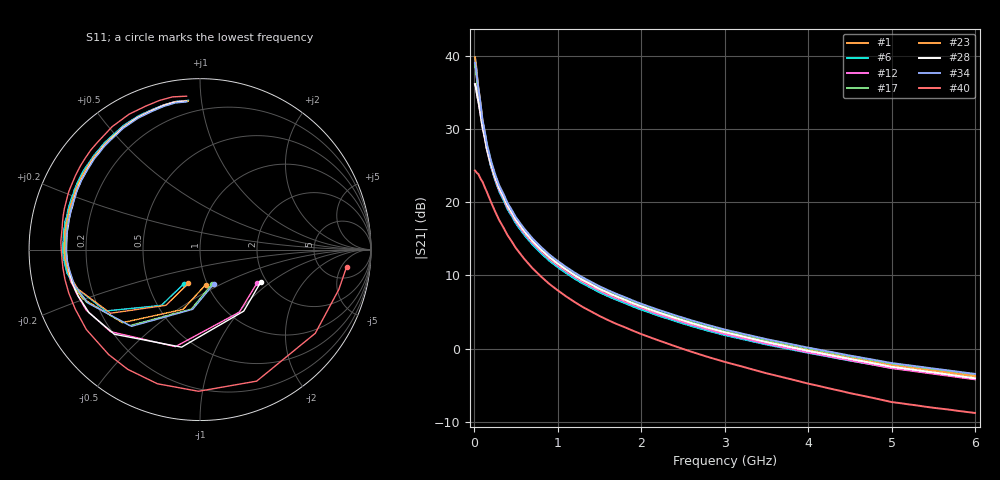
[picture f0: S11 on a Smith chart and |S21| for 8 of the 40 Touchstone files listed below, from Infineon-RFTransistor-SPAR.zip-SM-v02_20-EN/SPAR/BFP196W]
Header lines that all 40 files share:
! Infineon Technologies  Discrete & RF Semiconductors
! BFP196W
! Common Emitter S-Parameters:  Jan 2017
# GHz  S  MA  R  50
!  f  S11  S21  S12  S22
! GHz  MAG  ANG  MAG  ANG  MAG  ANG  MAG  ANG
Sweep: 10 MHz to 6 GHz
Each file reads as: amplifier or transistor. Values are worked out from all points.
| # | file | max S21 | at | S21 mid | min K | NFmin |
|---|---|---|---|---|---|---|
| 1 | BFP196W_w_noise_VCE_3.0V_IC_60mA.s2p | 38.8 dB | 10 MHz | 4.7 dB at 2.2 GHz | 0.16 | 1.47 dB |
| 2 | BFP196W_w_noise_VCE_3.0V_IC_65mA.s2p | 39.0 dB | 10 MHz | 4.7 dB at 2.2 GHz | 0.17 | 1.51 dB |
| 3 | BFP196W_w_noise_VCE_3.0V_IC_70mA.s2p | 39.2 dB | 10 MHz | 4.7 dB at 2.2 GHz | 0.18 | 1.58 dB |
| 4 | BFP196W_w_noise_VCE_3.0V_IC_75mA.s2p | 39.4 dB | 10 MHz | 4.6 dB at 2.2 GHz | 0.19 | 1.62 dB |
| 5 | BFP196W_w_noise_VCE_3.0V_IC_80mA.s2p | 39.5 dB | 10 MHz | 4.6 dB at 2.2 GHz | 0.20 | 1.68 dB |
| 6 | BFP196W_w_noise_VCE_3.0V_IC_85mA.s2p | 39.6 dB | 10 MHz | 4.5 dB at 2.2 GHz | 0.22 | 1.73 dB |
| 7 | BFP196W_w_noise_VCE_3.0V_IC_90mA.s2p | 39.7 dB | 10 MHz | 4.4 dB at 2.2 GHz | 0.23 | 1.78 dB |
| 8 | BFP196W_w_noise_VCE_4.0V_IC_5.0mA.s2p | 24.4 dB | 10 MHz | 0.8 dB at 2.2 GHz | -0.02 | 0.90 dB |
| 9 | BFP196W_w_noise_VCE_4.0V_IC_10mA.s2p | 29.7 dB | 10 MHz | 3.0 dB at 2.2 GHz | 0.00 | 0.91 dB |
| 10 | BFP196W_w_noise_VCE_4.0V_IC_20mA.s2p | 34.0 dB | 10 MHz | 4.3 dB at 2.2 GHz | 0.05 | 1.02 dB |
| 11 | BFP196W_w_noise_VCE_4.0V_IC_25mA.s2p | 35.2 dB | 10 MHz | 4.5 dB at 2.2 GHz | 0.06 | 1.07 dB |
| 12 | BFP196W_w_noise_VCE_4.0V_IC_30mA.s2p | 36.1 dB | 10 MHz | 4.7 dB at 2.2 GHz | 0.06 | 1.13 dB |
| 13 | BFP196W_w_noise_VCE_4.0V_IC_35mA.s2p | 36.8 dB | 10 MHz | 4.8 dB at 2.2 GHz | 0.08 | 1.19 dB |
| 14 | BFP196W_w_noise_VCE_4.0V_IC_40mA.s2p | 37.4 dB | 10 MHz | 4.9 dB at 2.2 GHz | 0.12 | 1.24 dB |
| 15 | BFP196W_w_noise_VCE_4.0V_IC_45mA.s2p | 37.8 dB | 10 MHz | 5.0 dB at 2.2 GHz | 0.11 | 1.31 dB |
| 16 | BFP196W_w_noise_VCE_4.0V_IC_50mA.s2p | 38.2 dB | 10 MHz | 5.0 dB at 2.2 GHz | 0.12 | 1.36 dB |
| 17 | BFP196W_w_noise_VCE_4.0V_IC_60mA.s2p | 38.8 dB | 10 MHz | 5.1 dB at 2.2 GHz | 0.16 | 1.47 dB |
| 18 | BFP196W_w_noise_VCE_4.0V_IC_65mA.s2p | 39.0 dB | 10 MHz | 5.1 dB at 2.2 GHz | 0.17 | 1.51 dB |
| 19 | BFP196W_w_noise_VCE_4.0V_IC_70mA.s2p | 39.2 dB | 10 MHz | 5.0 dB at 2.2 GHz | 0.17 | 1.58 dB |
| 20 | BFP196W_w_noise_VCE_4.0V_IC_75mA.s2p | 39.4 dB | 10 MHz | 5.0 dB at 2.2 GHz | 0.19 | 1.62 dB |
| 21 | BFP196W_w_noise_VCE_4.0V_IC_80mA.s2p | 39.6 dB | 10 MHz | 5.0 dB at 2.2 GHz | 0.20 | 1.68 dB |
| 22 | BFP196W_w_noise_VCE_4.0V_IC_85mA.s2p | 39.7 dB | 10 MHz | 5.0 dB at 2.2 GHz | 0.21 | 1.73 dB |
| 23 | BFP196W_w_noise_VCE_4.0V_IC_90mA.s2p | 39.8 dB | 10 MHz | 4.9 dB at 2.2 GHz | 0.22 | 1.78 dB |
| 24 | BFP196W_w_noise_VCE_5.0V_IC_5.0mA.s2p | 24.3 dB | 10 MHz | 1.0 dB at 2.2 GHz | -0.01 | 0.90 dB |
| 25 | BFP196W_w_noise_VCE_5.0V_IC_10mA.s2p | 29.6 dB | 10 MHz | 3.2 dB at 2.2 GHz | -0.01 | 0.91 dB |
| 26 | BFP196W_w_noise_VCE_5.0V_IC_20mA.s2p | 34.0 dB | 10 MHz | 4.5 dB at 2.2 GHz | 0.04 | 1.02 dB |
| 27 | BFP196W_w_noise_VCE_5.0V_IC_25mA.s2p | 35.2 dB | 10 MHz | 4.8 dB at 2.2 GHz | 0.06 | 1.07 dB |
| 28 | BFP196W_w_noise_VCE_5.0V_IC_30mA.s2p | 36.1 dB | 10 MHz | 5.0 dB at 2.2 GHz | 0.06 | 1.13 dB |
| 29 | BFP196W_w_noise_VCE_5.0V_IC_35mA.s2p | 36.8 dB | 10 MHz | 5.1 dB at 2.2 GHz | 0.09 | 1.19 dB |
| 30 | BFP196W_w_noise_VCE_5.0V_IC_40mA.s2p | 37.3 dB | 10 MHz | 5.2 dB at 2.2 GHz | 0.09 | 1.24 dB |
| 31 | BFP196W_w_noise_VCE_5.0V_IC_45mA.s2p | 37.8 dB | 10 MHz | 5.2 dB at 2.2 GHz | 0.10 | 1.31 dB |
| 32 | BFP196W_w_noise_VCE_5.0V_IC_50mA.s2p | 38.2 dB | 10 MHz | 5.3 dB at 2.2 GHz | 0.12 | 1.36 dB |
| 33 | BFP196W_w_noise_VCE_5.0V_IC_60mA.s2p | 38.8 dB | 10 MHz | 5.3 dB at 2.2 GHz | 0.14 | 1.47 dB |
| 34 | BFP196W_w_noise_VCE_5.0V_IC_65mA.s2p | 39.0 dB | 10 MHz | 5.3 dB at 2.2 GHz | 0.15 | 1.51 dB |
| 35 | BFP196W_w_noise_VCE_5.0V_IC_70mA.s2p | 39.2 dB | 10 MHz | 5.3 dB at 2.2 GHz | 0.17 | 1.58 dB |
| 36 | BFP196W_w_noise_VCE_5.0V_IC_75mA.s2p | 39.4 dB | 10 MHz | 5.3 dB at 2.2 GHz | 0.18 | 1.62 dB |
| 37 | BFP196W_w_noise_VCE_5.0V_IC_80mA.s2p | 39.5 dB | 10 MHz | 5.3 dB at 2.2 GHz | 0.18 | 1.68 dB |
| 38 | BFP196W_w_noise_VCE_5.0V_IC_85mA.s2p | 39.7 dB | 10 MHz | 5.2 dB at 2.2 GHz | 0.20 | 1.73 dB |
| 39 | BFP196W_w_noise_VCE_5.0V_IC_90mA.s2p | 39.8 dB | 10 MHz | 5.2 dB at 2.2 GHz | 0.21 | 1.78 dB |
| 40 | BFP196W_w_noise_VCE_6.0V_IC_5.0mA.s2p | 24.3 dB | 10 MHz | 1.1 dB at 2.2 GHz | -0.06 | 0.90 dB |

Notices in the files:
Hoja de datos/BFP 450/Infineon-RFTransistor-SPAR.zip-SM-v02_20-EN/SPAR/BFP196W/BFP196W_w_noise_VCE_3.0V_IC_60mA.s2p:
(c) 2017  Infineon Technologies AG, Munich
